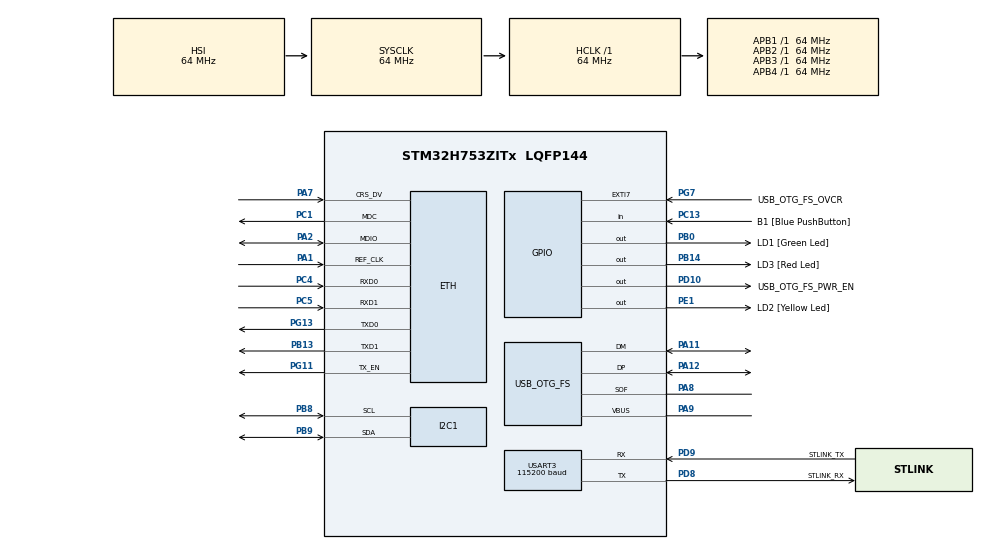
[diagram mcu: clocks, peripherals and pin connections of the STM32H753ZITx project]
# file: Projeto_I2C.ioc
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CORTEX_M7.CPU_DCache=Disabled
CORTEX_M7.CPU_ICache=Disabled
CORTEX_M7.MPU_Control=__NULL
ETH.ETH_RX_DESC_CNT=4
ETH.ETH_TX_DESC_CNT=4
ETH.MACAddr=00\:80\:E1\:00\:00\:00
ETH.MediaInterface=HAL_ETH_RMII_MODE
ETH.RxBuffAddress=0x30040200
ETH.RxBuffLen=1524
ETH.RxDescAddress=0x30040000
ETH.TxDescAddress=0x30040060
Mcu.Family=STM32H7
Mcu.Name=STM32H753ZITx
Mcu.Package=LQFP144
NVIC.I2C1_ER_IRQn=true\:0\:0\:false\:false\:true\:true\:true\:true
NVIC.I2C1_EV_IRQn=true\:0\:0\:false\:false\:true\:true\:true\:true
NVIC.PriorityGroup=NVIC_PRIORITYGROUP_4
PA1.Mode=RMII
PA1.Signal=ETH_REF_CLK
PA11.Mode=Device_Only
PA11.Signal=USB_OTG_FS_DM
PA12.Mode=Device_Only
PA12.Signal=USB_OTG_FS_DP
PA2.Mode=RMII
PA2.Signal=ETH_MDIO
PA7.Mode=RMII
PA7.Signal=ETH_CRS_DV
PA8.Mode=Activate_SOF_FS
PA8.Signal=USB_OTG_FS_SOF
PA9.Mode=Activate_VBUS
PA9.Signal=USB_OTG_FS_VBUS
PB0.GPIO_Label=LD1 [Green Led]
PB0.Signal=GPIO_Output
PB13.Mode=RMII
PB13.Signal=ETH_TXD1
PB14.GPIO_Label=LD3 [Red Led]
PB14.Signal=GPIO_Output
PB8.GPIO_Pu=GPIO_PULLUP
PB8.GPIO_Speed=GPIO_SPEED_FREQ_VERY_HIGH
PB8.Mode=I2C
PB8.Signal=I2C1_SCL
PB9.GPIO_Pu=GPIO_PULLUP
PB9.GPIO_Speed=GPIO_SPEED_FREQ_VERY_HIGH
PB9.Mode=I2C
PB9.Signal=I2C1_SDA
PC1.Mode=RMII
PC1.Signal=ETH_MDC
PC13.GPIO_Label=B1 [Blue PushButton]
PC13.Signal=GPIO_Input
PC14-OSC32_IN\ (OSC32_IN).Mode=LSE-External-Oscillator
PC14-OSC32_IN\ (OSC32_IN).Signal=RCC_OSC32_IN
PC15-OSC32_OUT\ (OSC32_OUT).Mode=LSE-External-Oscillator
PC15-OSC32_OUT\ (OSC32_OUT).Signal=RCC_OSC32_OUT
PC4.Mode=RMII
PC4.Signal=ETH_RXD0
PC5.Mode=RMII
PC5.Signal=ETH_RXD1
PD10.GPIO_Label=USB_OTG_FS_PWR_EN
PD10.Signal=GPIO_Output
PD8.GPIO_Label=STLINK_RX
PD8.Mode=Asynchronous
PD8.Signal=USART3_TX
PD9.GPIO_Label=STLINK_TX
PD9.Mode=Asynchronous
PD9.Signal=USART3_RX
PE1.GPIO_Label=LD2 [Yellow Led]
PE1.Signal=GPIO_Output
PG11.Mode=RMII
PG11.Signal=ETH_TX_EN
PG13.Mode=RMII
PG13.Signal=ETH_TXD0
PG7.GPIO_Label=USB_OTG_FS_OVCR
PG7.Signal=GPXTI7
PH0-OSC_IN\ (PH0).Mode=HSE-External-Clock-Source
PH0-OSC_IN\ (PH0).Signal=RCC_OSC_IN
PH1-OSC_OUT\ (PH1).Signal=RCC_OSC_OUT
ProjectManager.HeapSize=0x200
ProjectManager.StackSize=0x400
ProjectManager.TargetToolchain=STM32CubeIDE
RCC.ADCFreq_Value=16125000
RCC.APB1Freq_Value=64000000
RCC.APB2Freq_Value=64000000
RCC.APB3Freq_Value=64000000
RCC.APB4Freq_Value=64000000
RCC.CortexFreq_Value=64000000
RCC.DIVM1=1
RCC.DIVN1=24
RCC.DIVQ1=4
RCC.HCLKFreq_Value=64000000
RCC.HSE_VALUE=8000000
RCC.PLLFRACN=0
RCC.PWR_Regulator_Voltage_Scale=PWR_REGULATOR_VOLTAGE_SCALE2
RCC.SYSCLKFreq_VALUE=64000000
RCC.USBFreq_Value=48000000
USART3.AutoBaudRateEnableParam=UART_ADVFEATURE_AUTOBAUDRATE_DISABLE
USART3.BaudRate=115200
USART3.ClockPrescaler=PRESCALER_DIV1
USART3.DMADisableonRxErrorParam=ADVFEATURE_DMA_ENABLEONRXERROR
USART3.DataInvertParam=ADVFEATURE_DATAINV_DISABLE
USART3.FIFOMode=FIFOMODE_DISABLE
USART3.MSBFirstParam=ADVFEATURE_MSBFIRST_DISABLE
USART3.Mode=MODE_TX_RX
USART3.OneBitSampling=UART_ONE_BIT_SAMPLE_DISABLE
USART3.OverSampling=UART_OVERSAMPLING_16
USART3.OverrunDisableParam=ADVFEATURE_OVERRUN_ENABLE
USART3.Parity=PARITY_NONE
USART3.RXFIFOThreshold=RXFIFO_THRESHOLD_1EIGHTHFULL
USART3.RxPinLevelInvertParam=ADVFEATURE_RXINV_DISABLE
USART3.StopBits=STOPBITS_1
USART3.SwapParam=ADVFEATURE_SWAP_DISABLE
USART3.TXFIFOThreshold=TXFIFO_THRESHOLD_1EIGHTHFULL
USART3.TxPinLevelInvertParam=ADVFEATURE_TXINV_DISABLE
USART3.VirtualMode-Asynchronous=VM_ASYNC
USART3.WordLength=WORDLENGTH_8B
USB_OTG_FS.Sof_enable=ENABLE
USB_OTG_FS.VirtualMode=Device_Only
USB_OTG_FS.battery_charging_enable=ENABLE
USB_OTG_FS.low_power_enable=DISABLE
USB_OTG_FS.lpm_enable=DISABLE
USB_OTG_FS.use_dedicated_ep1=DISABLE
USB_OTG_FS.vbus_sensing_enable=ENABLE
VP_MEMORYMAP_VS_MEMORYMAP.Mode=CurAppReg
board=NUCLEO-H753ZI

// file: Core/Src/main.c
/* USER CODE BEGIN Header */
/**
  ******************************************************************************
  * @file           : main.c
  * @brief          : Main program body
  ******************************************************************************
  * @attention
  *
  * Copyright (c) 2024 STMicroelectronics.
  * All rights reserved.
  *
  * This software is licensed under terms that can be found in the LICENSE file
  * in the root directory of this software component.
  * If no LICENSE file comes with this software, it is provided AS-IS.
  *
  ******************************************************************************
  */
/* USER CODE END Header */
#include "main.h"
#include "string.h"

/* USER CODE BEGIN PD */
// PCF8591 I2C address (shifted for STM32 HAL)
#define PCF8591_ADDRESS 0x48 << 1

/* USER CODE END PD */

#if defined ( __ICCARM__ ) /*!< IAR Compiler */
#pragma location=0x30040000
ETH_DMADescTypeDef  DMARxDscrTab[ETH_RX_DESC_CNT]; /* Ethernet Rx DMA Descriptors */
#pragma location=0x30040060
ETH_DMADescTypeDef  DMATxDscrTab[ETH_TX_DESC_CNT]; /* Ethernet Tx DMA Descriptors */

#elif defined ( __CC_ARM )  /* MDK ARM Compiler */

__attribute__((at(0x30040000))) ETH_DMADescTypeDef  DMARxDscrTab[ETH_RX_DESC_CNT]; /* Ethernet Rx DMA Descriptors */
__attribute__((at(0x30040060))) ETH_DMADescTypeDef  DMATxDscrTab[ETH_TX_DESC_CNT]; /* Ethernet Tx DMA Descriptors */

#elif defined ( __GNUC__ ) /* GNU Compiler */

ETH_DMADescTypeDef DMARxDscrTab[ETH_RX_DESC_CNT] __attribute__((section(".RxDecripSection"))); /* Ethernet Rx DMA Descriptors */
ETH_DMADescTypeDef DMATxDscrTab[ETH_TX_DESC_CNT] __attribute__((section(".TxDecripSection")));   /* Ethernet Tx DMA Descriptors */
#endif

ETH_TxPacketConfig TxConfig;

ETH_HandleTypeDef heth;

I2C_HandleTypeDef hi2c1;

UART_HandleTypeDef huart3;

PCD_HandleTypeDef hpcd_USB_OTG_FS;

void SystemClock_Config(void);
static void MX_GPIO_Init(void);
static void MX_ETH_Init(void);
static void MX_I2C1_Init(void);
static void MX_USART3_UART_Init(void);
static void MX_USB_OTG_FS_PCD_Init(void);
/* USER CODE BEGIN PFP */

//Função de leitura no modulo sensor
uint8_t PCF8591_ReadAnalog(uint8_t channel);

	// Inicio do DAC - Wagner
	#define PCF8591_ADDRESS 0x48 << 1  // Endereço do PCF8591, verifique se é o mesmo no seu módulo

	uint8_t dac_value = 127; // Valor inicial para o DAC (entre 0 e 255)
	char uart_buffer[20];

/* USER CODE END PFP */

/* USER CODE BEGIN 0 */
int counter = 0;
char rx_buffer[9];
char execute_flag = '0';

/* USER CODE END 0 */

int main(void)
{

  /* MCU Configuration--------------------------------------------------------*/

  /* Reset of all peripherals, Initializes the Flash interface and the Systick. */
  HAL_Init();

  /* Configure the system clock */
  SystemClock_Config();

  /* Initialize all configured peripherals */
  MX_GPIO_Init();
  MX_ETH_Init();
  MX_I2C1_Init();
  MX_USART3_UART_Init();
  MX_USB_OTG_FS_PCD_Init();

  /* Infinite loop */
  /* USER CODE BEGIN WHILE */
  while (1)
  {

	  HAL_UART_Receive_IT(&huart3, rx_buffer, sizeof(rx_buffer));

  	  ExecuteProgram();

    /* USER CODE END WHILE */

  }
}

void ExecuteProgram()
{
	if(execute_flag == '1'){
		Read_LDR();
	}
	else if(execute_flag == '2'){
		Read_Temp();
	}
	else if(execute_flag == '3'){
		Read_Pot();
	}
	else if(execute_flag == '4'){
		Write_DAC();
	}

}

void Read_LDR(){
	 // Read analog data from A0 (channel 0) of the PCF8591
		  uint8_t LDR = PCF8591_ReadAnalog(0);
		  HAL_Delay(100); // Wait before next reading
		  char counterMessage[9];

		  snprintf(counterMessage, 8, "%s\r\n", " AIN0: ");
		  HAL_UART_Transmit_IT(&huart3, (uint8_t *)counterMessage, strlen(counterMessage));
		  HAL_Delay(100);

		  snprintf(counterMessage, 4, "%d\r\n", LDR);
		  HAL_UART_Transmit_IT(&huart3, (uint8_t *)counterMessage, strlen(counterMessage));
		  HAL_Delay(100);
		  execute_flag = '0';

}

void Read_Temp(){
	 // Read analog data from A1 (channel 1) of the PCF8591
		  uint8_t Temp = PCF8591_ReadAnalog(1);
		  HAL_Delay(100); // Wait before next reading
		  char counterMessage[9];

		  snprintf(counterMessage, 8, "%s\r\n", " AIN1: ");
		  HAL_UART_Transmit_IT(&huart3, (uint8_t *)counterMessage, strlen(counterMessage));
		  HAL_Delay(100);

		  snprintf(counterMessage, 4, "%d\r\n", Temp);
  		  HAL_UART_Transmit_IT(&huart3, (uint8_t *)counterMessage, strlen(counterMessage));
  		  HAL_Delay(100);
  		  execute_flag = '0';

}

void Read_Pot(){
	 uint8_t Pot = PCF8591_ReadAnalog(3);
		  // Process the analog_value or send it over UART/Display it
		  HAL_Delay(100); // Wait for 1 second before next reading
		  char counterMessage[9];

		  snprintf(counterMessage, 8, "%s\r\n", " AIN3: ");
		  HAL_UART_Transmit_IT(&huart3, (uint8_t *)counterMessage, strlen(counterMessage));
		  HAL_Delay(100);

		  snprintf(counterMessage, 4, "%d\r\n", Pot);
   		  HAL_UART_Transmit_IT(&huart3, (uint8_t *)counterMessage, strlen(counterMessage));
     	  HAL_Delay(100);
   		  execute_flag = '0';
}

void Write_DAC(){

	{       // Teste do DAC 2 - Wagner
	        // Configura o valor do DAC no PCF8591
	        uint8_t data[2] = {0x40, dac_value};  // 0x40 seleciona o DAC, seguido do valor do DAC
	        if (HAL_I2C_Master_Transmit(&hi2c1, PCF8591_ADDRESS, data, 2, HAL_MAX_DELAY) != HAL_OK) {
	            Error_Handler();
	        }

	        // Exibe o valor escrito no DAC no terminal via UART
	        snprintf(uart_buffer, sizeof(uart_buffer), "DAC Value: %d\r\n", dac_value);
	        HAL_UART_Transmit(&huart3, (uint8_t *)uart_buffer, strlen(uart_buffer), HAL_MAX_DELAY);

	        // Aumenta o valor do DAC com limite de 0 a 255
	        dac_value = (dac_value + 10) % 256;

	        HAL_Delay(1000); // Intervalo de 1 segundo para cada envio
	    }
	}

void SystemClock_Config(void)
{
  RCC_OscInitTypeDef RCC_OscInitStruct = {0};
  RCC_ClkInitTypeDef RCC_ClkInitStruct = {0};

  /** Supply configuration update enable
  */
  HAL_PWREx_ConfigSupply(PWR_LDO_SUPPLY);

  /** Configure the main internal regulator output voltage
  */
  __HAL_PWR_VOLTAGESCALING_CONFIG(PWR_REGULATOR_VOLTAGE_SCALE2);

  while(!__HAL_PWR_GET_FLAG(PWR_FLAG_VOSRDY)) {}

  /** Initializes the RCC Oscillators according to the specified parameters
  * in the RCC_OscInitTypeDef structure.
  */
  RCC_OscInitStruct.OscillatorType = RCC_OSCILLATORTYPE_HSI|RCC_OSCILLATORTYPE_HSE;
  RCC_OscInitStruct.HSEState = RCC_HSE_BYPASS;
  RCC_OscInitStruct.HSIState = RCC_HSI_DIV1;
  RCC_OscInitStruct.HSICalibrationValue = RCC_HSICALIBRATION_DEFAULT;
  RCC_OscInitStruct.PLL.PLLState = RCC_PLL_ON;
  RCC_OscInitStruct.PLL.PLLSource = RCC_PLLSOURCE_HSE;
  RCC_OscInitStruct.PLL.PLLM = 1;
  RCC_OscInitStruct.PLL.PLLN = 24;
  RCC_OscInitStruct.PLL.PLLP = 2;
  RCC_OscInitStruct.PLL.PLLQ = 4;
  RCC_OscInitStruct.PLL.PLLR = 2;
  RCC_OscInitStruct.PLL.PLLRGE = RCC_PLL1VCIRANGE_3;
  RCC_OscInitStruct.PLL.PLLVCOSEL = RCC_PLL1VCOWIDE;
  RCC_OscInitStruct.PLL.PLLFRACN = 0;
  if (HAL_RCC_OscConfig(&RCC_OscInitStruct) != HAL_OK)
  {
    Error_Handler();
  }

  /** Initializes the CPU, AHB and APB buses clocks
  */
  RCC_ClkInitStruct.ClockType = RCC_CLOCKTYPE_HCLK|RCC_CLOCKTYPE_SYSCLK
                              |RCC_CLOCKTYPE_PCLK1|RCC_CLOCKTYPE_PCLK2
                              |RCC_CLOCKTYPE_D3PCLK1|RCC_CLOCKTYPE_D1PCLK1;
  RCC_ClkInitStruct.SYSCLKSource = RCC_SYSCLKSOURCE_HSI;
  RCC_ClkInitStruct.SYSCLKDivider = RCC_SYSCLK_DIV1;
  RCC_ClkInitStruct.AHBCLKDivider = RCC_HCLK_DIV1;
  RCC_ClkInitStruct.APB3CLKDivider = RCC_APB3_DIV1;
  RCC_ClkInitStruct.APB1CLKDivider = RCC_APB1_DIV1;
  RCC_ClkInitStruct.APB2CLKDivider = RCC_APB2_DIV1;
  RCC_ClkInitStruct.APB4CLKDivider = RCC_APB4_DIV1;

  if (HAL_RCC_ClockConfig(&RCC_ClkInitStruct, FLASH_LATENCY_1) != HAL_OK)
  {
    Error_Handler();
  }
}

static void MX_ETH_Init(void)
{

   static uint8_t MACAddr[6];

  heth.Instance = ETH;
  MACAddr[0] = 0x00;
  MACAddr[1] = 0x80;
  MACAddr[2] = 0xE1;
  MACAddr[3] = 0x00;
  MACAddr[4] = 0x00;
  MACAddr[5] = 0x00;
  heth.Init.MACAddr = &MACAddr[0];
  heth.Init.MediaInterface = HAL_ETH_RMII_MODE;
  heth.Init.TxDesc = DMATxDscrTab;
  heth.Init.RxDesc = DMARxDscrTab;
  heth.Init.RxBuffLen = 1524;

  if (HAL_ETH_Init(&heth) != HAL_OK)
  {
    Error_Handler();
  }

  memset(&TxConfig, 0 , sizeof(ETH_TxPacketConfig));
  TxConfig.Attributes = ETH_TX_PACKETS_FEATURES_CSUM | ETH_TX_PACKETS_FEATURES_CRCPAD;
  TxConfig.ChecksumCtrl = ETH_CHECKSUM_IPHDR_PAYLOAD_INSERT_PHDR_CALC;
  TxConfig.CRCPadCtrl = ETH_CRC_PAD_INSERT;

}

static void MX_I2C1_Init(void)
{

  hi2c1.Instance = I2C1;
  hi2c1.Init.Timing = 0x10707DBC;
  hi2c1.Init.OwnAddress1 = 0;
  hi2c1.Init.AddressingMode = I2C_ADDRESSINGMODE_7BIT;
  hi2c1.Init.DualAddressMode = I2C_DUALADDRESS_DISABLE;
  hi2c1.Init.OwnAddress2 = 0;
  hi2c1.Init.OwnAddress2Masks = I2C_OA2_NOMASK;
  hi2c1.Init.GeneralCallMode = I2C_GENERALCALL_DISABLE;
  hi2c1.Init.NoStretchMode = I2C_NOSTRETCH_DISABLE;
  if (HAL_I2C_Init(&hi2c1) != HAL_OK)
  {
    Error_Handler();
  }

  /** Configure Analogue filter
  */
  if (HAL_I2CEx_ConfigAnalogFilter(&hi2c1, I2C_ANALOGFILTER_ENABLE) != HAL_OK)
  {
    Error_Handler();
  }

  /** Configure Digital filter
  */
  if (HAL_I2CEx_ConfigDigitalFilter(&hi2c1, 0) != HAL_OK)
  {
    Error_Handler();
  }

}

static void MX_USART3_UART_Init(void)
{

  huart3.Instance = USART3;
  huart3.Init.BaudRate = 115200;
  huart3.Init.WordLength = UART_WORDLENGTH_8B;
  huart3.Init.StopBits = UART_STOPBITS_1;
  huart3.Init.Parity = UART_PARITY_NONE;
  huart3.Init.Mode = UART_MODE_TX_RX;
  huart3.Init.HwFlowCtl = UART_HWCONTROL_NONE;
  huart3.Init.OverSampling = UART_OVERSAMPLING_16;
  huart3.Init.OneBitSampling = UART_ONE_BIT_SAMPLE_DISABLE;
  huart3.Init.ClockPrescaler = UART_PRESCALER_DIV1;
  huart3.AdvancedInit.AdvFeatureInit = UART_ADVFEATURE_NO_INIT;
  if (HAL_UART_Init(&huart3) != HAL_OK)
  {
    Error_Handler();
  }
  if (HAL_UARTEx_SetTxFifoThreshold(&huart3, UART_TXFIFO_THRESHOLD_1_8) != HAL_OK)
  {
    Error_Handler();
  }
  if (HAL_UARTEx_SetRxFifoThreshold(&huart3, UART_RXFIFO_THRESHOLD_1_8) != HAL_OK)
  {
    Error_Handler();
  }
  if (HAL_UARTEx_DisableFifoMode(&huart3) != HAL_OK)
  {
    Error_Handler();
  }

}

static void MX_USB_OTG_FS_PCD_Init(void)
{

  hpcd_USB_OTG_FS.Instance = USB_OTG_FS;
  hpcd_USB_OTG_FS.Init.dev_endpoints = 9;
  hpcd_USB_OTG_FS.Init.speed = PCD_SPEED_FULL;
  hpcd_USB_OTG_FS.Init.dma_enable = DISABLE;
  hpcd_USB_OTG_FS.Init.phy_itface = PCD_PHY_EMBEDDED;
  hpcd_USB_OTG_FS.Init.Sof_enable = ENABLE;
  hpcd_USB_OTG_FS.Init.low_power_enable = DISABLE;
  hpcd_USB_OTG_FS.Init.lpm_enable = DISABLE;
  hpcd_USB_OTG_FS.Init.battery_charging_enable = ENABLE;
  hpcd_USB_OTG_FS.Init.vbus_sensing_enable = ENABLE;
  hpcd_USB_OTG_FS.Init.use_dedicated_ep1 = DISABLE;
  if (HAL_PCD_Init(&hpcd_USB_OTG_FS) != HAL_OK)
  {
    Error_Handler();
  }

}

static void MX_GPIO_Init(void)
{
  GPIO_InitTypeDef GPIO_InitStruct = {0};

  /* GPIO Ports Clock Enable */
  __HAL_RCC_GPIOC_CLK_ENABLE();
  __HAL_RCC_GPIOH_CLK_ENABLE();
  __HAL_RCC_GPIOA_CLK_ENABLE();
  __HAL_RCC_GPIOB_CLK_ENABLE();
  __HAL_RCC_GPIOD_CLK_ENABLE();
  __HAL_RCC_GPIOG_CLK_ENABLE();
  __HAL_RCC_GPIOE_CLK_ENABLE();

  /*Configure GPIO pin Output Level */
  HAL_GPIO_WritePin(GPIOB, LD1_Pin|LD3_Pin, GPIO_PIN_RESET);

  /*Configure GPIO pin Output Level */
  HAL_GPIO_WritePin(USB_OTG_FS_PWR_EN_GPIO_Port, USB_OTG_FS_PWR_EN_Pin, GPIO_PIN_RESET);

  /*Configure GPIO pin Output Level */
  HAL_GPIO_WritePin(LD2_GPIO_Port, LD2_Pin, GPIO_PIN_RESET);

  /*Configure GPIO pin : B1_Pin */
  GPIO_InitStruct.Pin = B1_Pin;
  GPIO_InitStruct.Mode = GPIO_MODE_INPUT;
  GPIO_InitStruct.Pull = GPIO_NOPULL;
  HAL_GPIO_Init(B1_GPIO_Port, &GPIO_InitStruct);

  /*Configure GPIO pins : LD1_Pin LD3_Pin */
  GPIO_InitStruct.Pin = LD1_Pin|LD3_Pin;
  GPIO_InitStruct.Mode = GPIO_MODE_OUTPUT_PP;
  GPIO_InitStruct.Pull = GPIO_NOPULL;
  GPIO_InitStruct.Speed = GPIO_SPEED_FREQ_LOW;
  HAL_GPIO_Init(GPIOB, &GPIO_InitStruct);

  /*Configure GPIO pin : USB_OTG_FS_PWR_EN_Pin */
  GPIO_InitStruct.Pin = USB_OTG_FS_PWR_EN_Pin;
  GPIO_InitStruct.Mode = GPIO_MODE_OUTPUT_PP;
  GPIO_InitStruct.Pull = GPIO_NOPULL;
  GPIO_InitStruct.Speed = GPIO_SPEED_FREQ_LOW;
  HAL_GPIO_Init(USB_OTG_FS_PWR_EN_GPIO_Port, &GPIO_InitStruct);

  /*Configure GPIO pin : USB_OTG_FS_OVCR_Pin */
  GPIO_InitStruct.Pin = USB_OTG_FS_OVCR_Pin;
  GPIO_InitStruct.Mode = GPIO_MODE_IT_RISING;
  GPIO_InitStruct.Pull = GPIO_NOPULL;
  HAL_GPIO_Init(USB_OTG_FS_OVCR_GPIO_Port, &GPIO_InitStruct);

  /*Configure GPIO pin : LD2_Pin */
  GPIO_InitStruct.Pin = LD2_Pin;
  GPIO_InitStruct.Mode = GPIO_MODE_OUTPUT_PP;
  GPIO_InitStruct.Pull = GPIO_NOPULL;
  GPIO_InitStruct.Speed = GPIO_SPEED_FREQ_LOW;
  HAL_GPIO_Init(LD2_GPIO_Port, &GPIO_InitStruct);

}

/* USER CODE BEGIN 4 */

//Função de leitura no modulo sensor
uint8_t PCF8591_ReadAnalog(uint8_t channel)
{
	uint8_t config_byte = 0x40 | (channel & 0x03); // Select the channel (A0, A1, A2, A3)
	uint8_t analog_data[2];

	// Send configuration byte to select the ADC channel
	HAL_I2C_Master_Transmit(&hi2c1, PCF8591_ADDRESS, &config_byte, 1, 1000);

	// Read two bytes: first byte is a dummy, second byte is the actual analog value
	HAL_I2C_Master_Receive(&hi2c1, PCF8591_ADDRESS, analog_data, 2, 1000);

	// Return the second byte which contains the valid ADC reading
	return analog_data[1];
}

void HAL_UART_RxCpltCallback(UART_HandleTypeDef *huart)
{

  if (strncmp(rx_buffer, "Read_AIN0", 9) == 0) {
	  execute_flag = '1';
  }
  if (strncmp(rx_buffer, "Read_AIN1", 9) == 0) {
	  execute_flag = '2';
  }
  if (strncmp(rx_buffer, "Read_AIN3", 9) == 0) {
	  execute_flag = '3';
  }
  if (strncmp(rx_buffer, "Set_DAC_255", 11) == 0) {
	  execute_flag = '4';
  }

}
/* USER CODE END 4 */

void Error_Handler(void)
{
  __disable_irq();
  while (1)
  {
  }
}
